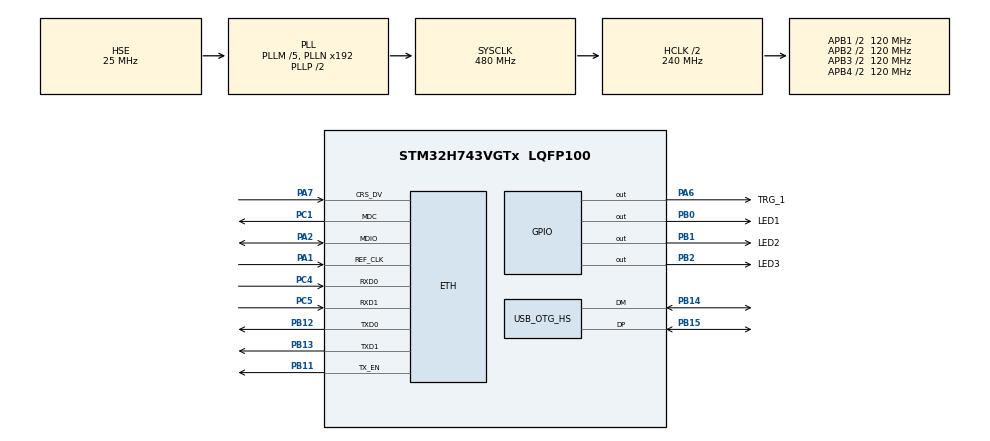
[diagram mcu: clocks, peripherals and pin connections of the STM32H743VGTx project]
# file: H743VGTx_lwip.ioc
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ADC3.Channel-0\#ChannelRegularConversion=ADC_CHANNEL_TEMPSENSOR
ADC3.NbrOfConversionFlag=1
ADC3.OffsetNumber-0\#ChannelRegularConversion=ADC_OFFSET_NONE
ADC3.OffsetSignedSaturation-0\#ChannelRegularConversion=DISABLE
ADC3.Rank-0\#ChannelRegularConversion=1
ADC3.SamplingTime-0\#ChannelRegularConversion=ADC_SAMPLETIME_810CYCLES_5
CORTEX_M7.AccessPermission_S-Cortex_Memory_Protection_Unit_Region1_Settings_S=MPU_REGION_FULL_ACCESS
CORTEX_M7.AccessPermission_S-Cortex_Memory_Protection_Unit_Region2_Settings_S=MPU_REGION_FULL_ACCESS
CORTEX_M7.BaseAddress_S-Cortex_Memory_Protection_Unit_Region1_Settings_S=0x30020000
CORTEX_M7.BaseAddress_S-Cortex_Memory_Protection_Unit_Region2_Settings_S=0x30040000
CORTEX_M7.CPU_DCache=Enabled
CORTEX_M7.CPU_ICache=Enabled
CORTEX_M7.DisableExec_S-Cortex_Memory_Protection_Unit_Region1_Settings_S=MPU_INSTRUCTION_ACCESS_DISABLE
CORTEX_M7.DisableExec_S-Cortex_Memory_Protection_Unit_Region2_Settings_S=MPU_INSTRUCTION_ACCESS_DISABLE
CORTEX_M7.Enable_S-Cortex_Memory_Protection_Unit_Region1_Settings_S=MPU_REGION_ENABLE
CORTEX_M7.Enable_S-Cortex_Memory_Protection_Unit_Region2_Settings_S=MPU_REGION_ENABLE
CORTEX_M7.IsBufferable_S-Cortex_Memory_Protection_Unit_Region2_Settings_S=MPU_ACCESS_BUFFERABLE
CORTEX_M7.IsShareable_S-Cortex_Memory_Protection_Unit_Region2_Settings_S=MPU_ACCESS_SHAREABLE
CORTEX_M7.Size_S-Cortex_Memory_Protection_Unit_Region1_Settings_S=MPU_REGION_SIZE_128KB
CORTEX_M7.Size_S-Cortex_Memory_Protection_Unit_Region2_Settings_S=MPU_REGION_SIZE_512B
CORTEX_M7.TypeExtField_S-Cortex_Memory_Protection_Unit_Region1_Settings_S=MPU_TEX_LEVEL1
CORTEX_M7.default_mode_Activation=1
CRC.CRCLength=CRC_POLYLENGTH_16B
CRC.DefaultPolynomialUse=DEFAULT_POLYNOMIAL_DISABLE
CRC.GeneratingPolynomial=X15+X2+X0
CRC.InputDataInversionMode=CRC_INPUTDATA_INVERSION_BYTE
CRC.OutputDataInversionMode=CRC_OUTPUTDATA_INVERSION_ENABLE
ETH.MediaInterface=HAL_ETH_RMII_MODE
ETH.RxBuffLen=1536
ETH.RxDescAddress=0x30040000
ETH.TxDescAddress=0x30040200
FREERTOS.Tasks01=defaultTask,24,512,StartDefaultTask,Default,NULL,Dynamic,NULL,NULL;adcTask,8,512,StartAdcTask,Default,NULL,Dynamic,NULL,NULL
FREERTOS.configENABLE_FPU=0
FREERTOS.configMINIMAL_STACK_SIZE=512
FREERTOS.configTOTAL_HEAP_SIZE=32768
FREERTOS.configUSE_NEWLIB_REENTRANT=1
LWIP.BSP.number=1
LWIP.DEFAULT_THREAD_STACKSIZE=2048
LWIP.GATEWAY_ADDRESS=192.168.001.001
LWIP.IP_ADDRESS=192.168.001.010
LWIP.LWIP_DHCP=0
LWIP.LWIP_IGMP=1
LWIP.LWIP_MULTICAST_TX_OPTIONS=1
LWIP.LWIP_RAM_HEAP_POINTER=0x30020000
LWIP.LWIP_RAW=1
LWIP.MEM_SIZE=131048
LWIP.NETMASK_ADDRESS=255.255.255.000
LWIP.TCPIP_THREAD_STACKSIZE=2048
LWIP.Version=v2.1.2_Cube
LWIP0.BSP.STBoard=false
LWIP0.BSP.api=BSP_COMPONENT_DRIVER
LWIP0.BSP.component=LAN8742
LWIP0.BSP.instance=LAN8742
LWIP0.BSP.name=Driver_PHY
LWIP0.BSP.semaphore=S_LAN8742
LWIP0.BSP.solution=LAN8742
Mcu.Family=STM32H7
Mcu.Name=STM32H743VGTx
Mcu.Package=LQFP100
NVIC.ETH_IRQn=true\:5\:0\:false\:false\:true\:true\:true\:true\:true
NVIC.OTG_HS_IRQn=true\:5\:0\:false\:false\:true\:true\:false\:true\:true
NVIC.PriorityGroup=NVIC_PRIORITYGROUP_4
NVIC.TIM5_IRQn=true\:5\:0\:false\:false\:true\:true\:true\:true\:true
NVIC.TIM6_DAC_IRQn=true\:15\:0\:false\:false\:true\:false\:false\:true\:true
NVIC.TimeBase=TIM6_DAC_IRQn
NVIC.TimeBaseIP=TIM6
PA1.GPIO_Speed=GPIO_SPEED_FREQ_VERY_HIGH
PA1.Mode=RMII
PA1.Signal=ETH_REF_CLK
PA13\ (JTMS/SWDIO).Mode=Serial_Wire
PA13\ (JTMS/SWDIO).Signal=DEBUG_JTMS-SWDIO
PA14\ (JTCK/SWCLK).Mode=Serial_Wire
PA14\ (JTCK/SWCLK).Signal=DEBUG_JTCK-SWCLK
PA2.GPIO_Speed=GPIO_SPEED_FREQ_VERY_HIGH
PA2.Mode=RMII
PA2.Signal=ETH_MDIO
PA6.GPIO_Label=TRG_1
PA6.GPIO_PuPd=GPIO_PULLDOWN
PA6.GPIO_Speed=GPIO_SPEED_FREQ_HIGH
PA6.Signal=GPIO_Output
PA7.GPIO_Speed=GPIO_SPEED_FREQ_VERY_HIGH
PA7.Mode=RMII
PA7.Signal=ETH_CRS_DV
PB0.GPIO_Label=LED1
PB0.Signal=GPIO_Output
PB1.GPIO_Label=LED2
PB1.Signal=GPIO_Output
PB11.GPIO_Speed=GPIO_SPEED_FREQ_VERY_HIGH
PB11.Mode=RMII
PB11.Signal=ETH_TX_EN
PB12.GPIO_Speed=GPIO_SPEED_FREQ_VERY_HIGH
PB12.Mode=RMII
PB12.Signal=ETH_TXD0
PB13.GPIO_Speed=GPIO_SPEED_FREQ_VERY_HIGH
PB13.Mode=RMII
PB13.Signal=ETH_TXD1
PB14.Mode=Device_Only_FS
PB14.Signal=USB_OTG_HS_DM
PB15.Mode=Device_Only_FS
PB15.Signal=USB_OTG_HS_DP
PB2.GPIO_Label=LED3
PB2.Signal=GPIO_Output
PC1.GPIO_Speed=GPIO_SPEED_FREQ_VERY_HIGH
PC1.Mode=RMII
PC1.Signal=ETH_MDC
PC4.GPIO_Speed=GPIO_SPEED_FREQ_VERY_HIGH
PC4.Mode=RMII
PC4.Signal=ETH_RXD0
PC5.GPIO_Speed=GPIO_SPEED_FREQ_VERY_HIGH
PC5.Mode=RMII
PC5.Signal=ETH_RXD1
PH0-OSC_IN\ (PH0).Mode=HSE-External-Oscillator
PH0-OSC_IN\ (PH0).Signal=RCC_OSC_IN
PH1-OSC_OUT\ (PH1).Mode=HSE-External-Oscillator
PH1-OSC_OUT\ (PH1).Signal=RCC_OSC_OUT
ProjectManager.HeapSize=0x2000
ProjectManager.StackSize=0x4000
ProjectManager.TargetToolchain=CMake
RCC.ADCFreq_Value=75000000
RCC.APB1Freq_Value=120000000
RCC.APB2Freq_Value=120000000
RCC.APB3Freq_Value=120000000
RCC.APB4Freq_Value=120000000
RCC.CortexFreq_Value=480000000
RCC.D1PPRE=RCC_APB3_DIV2
RCC.D2PPRE1=RCC_APB1_DIV2
RCC.D2PPRE2=RCC_APB2_DIV2
RCC.D3PPRE=RCC_APB4_DIV2
RCC.DIVM1=5
RCC.DIVM2=5
RCC.DIVN1=192
RCC.DIVN2=30
RCC.DIVQ1=20
RCC.HCLKFreq_Value=240000000
RCC.HPRE=RCC_HCLK_DIV2
RCC.PLLSourceVirtual=RCC_PLLSOURCE_HSE
RCC.SYSCLKFreq_VALUE=480000000
RCC.SYSCLKSource=RCC_SYSCLKSOURCE_PLLCLK
RCC.USBFreq_Value=48000000
TIM5.AutoReloadPreload=TIM_AUTORELOAD_PRELOAD_ENABLE
TIM5.Channel-Output\ Compare1\ No\ Output=TIM_CHANNEL_1
TIM5.OC1Preload=ENABLE
TIM5.Period=5000-1
TIM5.Prescaler=240-1
TIM5.Pulse-Output\ Compare1\ No\ Output=2500
USB_DEVICE.CLASS_NAME_HS=CDC
USB_DEVICE.VirtualMode-CDC_HS=Cdc
USB_DEVICE.VirtualModeHS=Cdc_HS
USB_OTG_HS.VirtualMode-Device_Only_FS=Device_Only_FS
VP_ADC3_TempSens_Input.Mode=IN-TempSens
VP_CRC_VS_CRC.Mode=CRC_Activate
VP_FREERTOS_VS_CMSIS_V2.Mode=CMSIS_V2
VP_LWIP_VS_Enabled.Mode=Enabled
VP_MEMORYMAP_VS_MEMORYMAP.Mode=CurAppReg
VP_SYS_VS_tim6.Mode=TIM6
VP_TIM5_VS_ClockSourceINT.Mode=Internal
VP_TIM5_VS_no_output1.Mode=Output Compare1 No Output
VP_USB_DEVICE_VS_USB_DEVICE_CDC_HS.Mode=CDC_HS
board=custom

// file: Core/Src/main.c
/* USER CODE BEGIN Header */
/**
  ******************************************************************************
  * @file           : main.c
  * @brief          : Main program body
  ******************************************************************************
  * @attention
  *
  * Copyright (c) 2025 STMicroelectronics.
  * All rights reserved.
  *
  * This software is licensed under terms that can be found in the LICENSE file
  * in the root directory of this software component.
  * If no LICENSE file comes with this software, it is provided AS-IS.
  *
  ******************************************************************************
  */
/* USER CODE END Header */
#include "main.h"
#include "cmsis_os.h"
#include "lwip.h"
#include "usb_device.h"

/* USER CODE BEGIN Includes */
#include "usbd_cdc_if.h"
#include "ptpd.h"
#include "udp_conn.h"
#include "config.h"
/* USER CODE END Includes */

ADC_HandleTypeDef hadc3;

CRC_HandleTypeDef hcrc;

TIM_HandleTypeDef htim5;

/* Definitions for defaultTask */
osThreadId_t defaultTaskHandle;
const osThreadAttr_t defaultTask_attributes = {
  .name = "defaultTask",
  .stack_size = 512 * 4,
  .priority = (osPriority_t) osPriorityNormal,
};
/* Definitions for adcTask */
osThreadId_t adcTaskHandle;
const osThreadAttr_t adcTask_attributes = {
  .name = "adcTask",
  .stack_size = 512 * 4,
  .priority = (osPriority_t) osPriorityLow,
};

void SystemClock_Config(void);
static void MPU_Config(void);
static void MX_GPIO_Init(void);
static void MX_ADC3_Init(void);
static void MX_CRC_Init(void);
static void MX_TIM5_Init(void);
void StartDefaultTask(void *argument);
void StartAdcTask(void *argument);

int main(void)
{

  /* MPU Configuration--------------------------------------------------------*/
  MPU_Config();

  /* Enable the CPU Cache */

  /* Enable I-Cache---------------------------------------------------------*/
  SCB_EnableICache();

  /* Enable D-Cache---------------------------------------------------------*/
  SCB_EnableDCache();

  /* MCU Configuration--------------------------------------------------------*/

  /* Reset of all peripherals, Initializes the Flash interface and the Systick. */
  HAL_Init();

  /* Configure the system clock */
  SystemClock_Config();

  /* Initialize all configured peripherals */
  MX_GPIO_Init();
  MX_ADC3_Init();
  MX_CRC_Init();
  MX_TIM5_Init();
  /* USER CODE BEGIN 2 */
  HAL_Delay(500);
  HAL_ADCEx_Calibration_Start(&hadc3,ADC_CALIB_OFFSET,ADC_SINGLE_ENDED);
  HAL_Delay(500);
  HAL_TIM_Base_Start_IT(&htim5);
  HAL_TIM_OC_Start_IT(&htim5, TIM_CHANNEL_1);
  /* USER CODE END 2 */

  /* Init scheduler */
  osKernelInitialize();

  /* Create the thread(s) */
  /* creation of defaultTask */
  defaultTaskHandle = osThreadNew(StartDefaultTask, NULL, &defaultTask_attributes);

  /* creation of adcTask */
  adcTaskHandle = osThreadNew(StartAdcTask, NULL, &adcTask_attributes);

  /* Start scheduler */
  osKernelStart();

  /* We should never get here as control is now taken by the scheduler */

  /* Infinite loop */
  while (1)
  {

  }
}

void SystemClock_Config(void)
{
  RCC_OscInitTypeDef RCC_OscInitStruct = {0};
  RCC_ClkInitTypeDef RCC_ClkInitStruct = {0};

  /** Supply configuration update enable
  */
  HAL_PWREx_ConfigSupply(PWR_LDO_SUPPLY);

  /** Configure the main internal regulator output voltage
  */
  __HAL_PWR_VOLTAGESCALING_CONFIG(PWR_REGULATOR_VOLTAGE_SCALE0);

  while(!__HAL_PWR_GET_FLAG(PWR_FLAG_VOSRDY)) {}

  /** Initializes the RCC Oscillators according to the specified parameters
  * in the RCC_OscInitTypeDef structure.
  */
  RCC_OscInitStruct.OscillatorType = RCC_OSCILLATORTYPE_HSE;
  RCC_OscInitStruct.HSEState = RCC_HSE_ON;
  RCC_OscInitStruct.PLL.PLLState = RCC_PLL_ON;
  RCC_OscInitStruct.PLL.PLLSource = RCC_PLLSOURCE_HSE;
  RCC_OscInitStruct.PLL.PLLM = 5;
  RCC_OscInitStruct.PLL.PLLN = 192;
  RCC_OscInitStruct.PLL.PLLP = 2;
  RCC_OscInitStruct.PLL.PLLQ = 20;
  RCC_OscInitStruct.PLL.PLLR = 2;
  RCC_OscInitStruct.PLL.PLLRGE = RCC_PLL1VCIRANGE_2;
  RCC_OscInitStruct.PLL.PLLVCOSEL = RCC_PLL1VCOWIDE;
  RCC_OscInitStruct.PLL.PLLFRACN = 0;
  if (HAL_RCC_OscConfig(&RCC_OscInitStruct) != HAL_OK)
  {
    Error_Handler();
  }

  /** Initializes the CPU, AHB and APB buses clocks
  */
  RCC_ClkInitStruct.ClockType = RCC_CLOCKTYPE_HCLK|RCC_CLOCKTYPE_SYSCLK
                              |RCC_CLOCKTYPE_PCLK1|RCC_CLOCKTYPE_PCLK2
                              |RCC_CLOCKTYPE_D3PCLK1|RCC_CLOCKTYPE_D1PCLK1;
  RCC_ClkInitStruct.SYSCLKSource = RCC_SYSCLKSOURCE_PLLCLK;
  RCC_ClkInitStruct.SYSCLKDivider = RCC_SYSCLK_DIV1;
  RCC_ClkInitStruct.AHBCLKDivider = RCC_HCLK_DIV2;
  RCC_ClkInitStruct.APB3CLKDivider = RCC_APB3_DIV2;
  RCC_ClkInitStruct.APB1CLKDivider = RCC_APB1_DIV2;
  RCC_ClkInitStruct.APB2CLKDivider = RCC_APB2_DIV2;
  RCC_ClkInitStruct.APB4CLKDivider = RCC_APB4_DIV2;

  if (HAL_RCC_ClockConfig(&RCC_ClkInitStruct, FLASH_LATENCY_4) != HAL_OK)
  {
    Error_Handler();
  }
}

static void MX_ADC3_Init(void)
{

  ADC_ChannelConfTypeDef sConfig = {0};

  /** Common config
  */
  hadc3.Instance = ADC3;
  hadc3.Init.Resolution = ADC_RESOLUTION_16B;
  hadc3.Init.ScanConvMode = ADC_SCAN_DISABLE;
  hadc3.Init.EOCSelection = ADC_EOC_SINGLE_CONV;
  hadc3.Init.LowPowerAutoWait = DISABLE;
  hadc3.Init.ContinuousConvMode = DISABLE;
  hadc3.Init.NbrOfConversion = 1;
  hadc3.Init.DiscontinuousConvMode = DISABLE;
  hadc3.Init.ExternalTrigConv = ADC_SOFTWARE_START;
  hadc3.Init.ExternalTrigConvEdge = ADC_EXTERNALTRIGCONVEDGE_NONE;
  hadc3.Init.ConversionDataManagement = ADC_CONVERSIONDATA_DR;
  hadc3.Init.Overrun = ADC_OVR_DATA_PRESERVED;
  hadc3.Init.LeftBitShift = ADC_LEFTBITSHIFT_NONE;
  hadc3.Init.OversamplingMode = DISABLE;
  hadc3.Init.Oversampling.Ratio = 1;
  if (HAL_ADC_Init(&hadc3) != HAL_OK)
  {
    Error_Handler();
  }

  /** Configure Regular Channel
  */
  sConfig.Channel = ADC_CHANNEL_TEMPSENSOR;
  sConfig.Rank = ADC_REGULAR_RANK_1;
  sConfig.SamplingTime = ADC_SAMPLETIME_810CYCLES_5;
  sConfig.SingleDiff = ADC_SINGLE_ENDED;
  sConfig.OffsetNumber = ADC_OFFSET_NONE;
  sConfig.Offset = 0;
  sConfig.OffsetSignedSaturation = DISABLE;
  if (HAL_ADC_ConfigChannel(&hadc3, &sConfig) != HAL_OK)
  {
    Error_Handler();
  }

}

static void MX_CRC_Init(void)
{

  hcrc.Instance = CRC;
  hcrc.Init.DefaultPolynomialUse = DEFAULT_POLYNOMIAL_DISABLE;
  hcrc.Init.DefaultInitValueUse = DEFAULT_INIT_VALUE_ENABLE;
  hcrc.Init.GeneratingPolynomial = 32773;
  hcrc.Init.CRCLength = CRC_POLYLENGTH_16B;
  hcrc.Init.InputDataInversionMode = CRC_INPUTDATA_INVERSION_BYTE;
  hcrc.Init.OutputDataInversionMode = CRC_OUTPUTDATA_INVERSION_ENABLE;
  hcrc.InputDataFormat = CRC_INPUTDATA_FORMAT_BYTES;
  if (HAL_CRC_Init(&hcrc) != HAL_OK)
  {
    Error_Handler();
  }

}

static void MX_TIM5_Init(void)
{

  TIM_ClockConfigTypeDef sClockSourceConfig = {0};
  TIM_MasterConfigTypeDef sMasterConfig = {0};
  TIM_OC_InitTypeDef sConfigOC = {0};

  htim5.Instance = TIM5;
  htim5.Init.Prescaler = 240-1;
  htim5.Init.CounterMode = TIM_COUNTERMODE_UP;
  htim5.Init.Period = 5000-1;
  htim5.Init.ClockDivision = TIM_CLOCKDIVISION_DIV1;
  htim5.Init.AutoReloadPreload = TIM_AUTORELOAD_PRELOAD_ENABLE;
  if (HAL_TIM_Base_Init(&htim5) != HAL_OK)
  {
    Error_Handler();
  }
  sClockSourceConfig.ClockSource = TIM_CLOCKSOURCE_INTERNAL;
  if (HAL_TIM_ConfigClockSource(&htim5, &sClockSourceConfig) != HAL_OK)
  {
    Error_Handler();
  }
  if (HAL_TIM_OC_Init(&htim5) != HAL_OK)
  {
    Error_Handler();
  }
  sMasterConfig.MasterOutputTrigger = TIM_TRGO_RESET;
  sMasterConfig.MasterSlaveMode = TIM_MASTERSLAVEMODE_DISABLE;
  if (HAL_TIMEx_MasterConfigSynchronization(&htim5, &sMasterConfig) != HAL_OK)
  {
    Error_Handler();
  }
  sConfigOC.OCMode = TIM_OCMODE_TIMING;
  sConfigOC.Pulse = 2500;
  sConfigOC.OCPolarity = TIM_OCPOLARITY_HIGH;
  sConfigOC.OCFastMode = TIM_OCFAST_DISABLE;
  if (HAL_TIM_OC_ConfigChannel(&htim5, &sConfigOC, TIM_CHANNEL_1) != HAL_OK)
  {
    Error_Handler();
  }
  __HAL_TIM_ENABLE_OCxPRELOAD(&htim5, TIM_CHANNEL_1);
  /* USER CODE BEGIN TIM5_Init 2 */
  // TIM5->CR1 &= ~TIM_CR1_UDIS;
  /* USER CODE END TIM5_Init 2 */

}

static void MX_GPIO_Init(void)
{
  GPIO_InitTypeDef GPIO_InitStruct = {0};

  /* GPIO Ports Clock Enable */
  __HAL_RCC_GPIOH_CLK_ENABLE();
  __HAL_RCC_GPIOC_CLK_ENABLE();
  __HAL_RCC_GPIOA_CLK_ENABLE();
  __HAL_RCC_GPIOB_CLK_ENABLE();

  /*Configure GPIO pin Output Level */
  HAL_GPIO_WritePin(TRG_1_GPIO_Port, TRG_1_Pin, GPIO_PIN_RESET);

  /*Configure GPIO pin Output Level */
  HAL_GPIO_WritePin(GPIOB, LED1_Pin|LED2_Pin|LED3_Pin, GPIO_PIN_RESET);

  /*Configure GPIO pin : TRG_1_Pin */
  GPIO_InitStruct.Pin = TRG_1_Pin;
  GPIO_InitStruct.Mode = GPIO_MODE_OUTPUT_PP;
  GPIO_InitStruct.Pull = GPIO_PULLDOWN;
  GPIO_InitStruct.Speed = GPIO_SPEED_FREQ_HIGH;
  HAL_GPIO_Init(TRG_1_GPIO_Port, &GPIO_InitStruct);

  /*Configure GPIO pins : LED1_Pin LED2_Pin LED3_Pin */
  GPIO_InitStruct.Pin = LED1_Pin|LED2_Pin|LED3_Pin;
  GPIO_InitStruct.Mode = GPIO_MODE_OUTPUT_PP;
  GPIO_InitStruct.Pull = GPIO_NOPULL;
  GPIO_InitStruct.Speed = GPIO_SPEED_FREQ_LOW;
  HAL_GPIO_Init(GPIOB, &GPIO_InitStruct);

}

/* USER CODE BEGIN 4 */
static uint8_t recv_buf[1024] = {0};
struct udp_pcb* udp_conn_pcb = NULL;
int cmd_recv_flag = 0;
void pc_cmd_recv_udp(void *arg, void* data, u32_t recv_len) {
  if(data != NULL){
    cmd_recv_flag = 1;
  }
}
void handle_cmd_recv(ip_addr_t remote_ip, uint16_t remote_port) {
  if(cmd_recv_flag == 1){
    cmd_recv_flag = 0;
    char* cmd_str = (char*)recv_buf;
    if (strncmp(cmd_str, "set ip", 6) == 0) {
      char* ip_str = cmd_str + 7;
      char* token = strtok(ip_str, ".");
      uint8_t ip[4] = {0};
      int i = 0;
      while (token != NULL && i < 4) {
        ip[i++] = atoi(token);
        token = strtok(NULL, ".");
      }
      if (i == 4) {
        global_config.flash_config.local_ip = create_ip_addr(ip[0], ip[1], ip[2], ip[3]).addr;
        save_flash_config(&global_config.flash_config);
        // netif_set_addr(netif_default, (ip_addr_t*)&global_config.flash_config.local_ip,
        // (ip_addr_t*)&global_config.flash_config.local_netmask,
        // (ip_addr_t*)&global_config.flash_config.local_gateway);
        // netif_set_up(netif_default);
      } else {
        do_udp_send(udp_conn_pcb, remote_ip, remote_port, (void*)"invalid ip\n", sizeof("invalid ip\n"));
      }
    } else {
      do_udp_send(udp_conn_pcb, remote_ip, remote_port, (void*)"invalid cmd\n", sizeof("invalid cmd\n"));
    }

  }
}

int trigger_cnt = 0;
TimeInternal trigger_time;
ip_addr_t trigger_remote_ip;
uint16_t trigger_remote_port;
void trigger_packet(const char* sensor, uint32_t seconds, uint32_t nanoseconds) {
  if (udp_conn_pcb == NULL) {
    return;
  }
  static trigger_str[64] = {0};
  snprintf(trigger_str, sizeof(trigger_str), "trigger %s %u %u\n", sensor, seconds, nanoseconds);
  do_udp_send(udp_conn_pcb, trigger_remote_ip, trigger_remote_port, (void*)trigger_str, strlen(trigger_str));
}

void handle_trigger_task(void) {
  getTime(&trigger_time);
  int trigger_us = trigger_time.nanoseconds / 1000;
  int period = TIM5->ARR + 1;
  int cycles = trigger_us / period;
  int phase = trigger_us % period;

  // adjust triggrer phase to align with PTP
  int last_ccr = TIM5->CCR1;
  int target_ccr = last_ccr + (period - phase);
  if (target_ccr >= period){
    target_ccr -= period;
  }
  TIM5->CCR1 = target_ccr;
  if (target_ccr - last_ccr > period / 2){
    TIM5->EGR |= TIM_EGR_UG; // update the timer
  }

  int trigger_cycle = cycles + (phase > period / 2);
  if (trigger_cycle % 8 == 0){
    HAL_GPIO_WritePin(TRG_1_GPIO_Port, TRG_1_Pin, GPIO_PIN_SET);
    // usb_printf("trigger up: %u %u %u %u\n", trigger_time.seconds, trigger_time.nanoseconds, trigger_cnt, phase);
    trigger_packet("cameras", trigger_time.seconds, trigger_time.nanoseconds);
  } else if (trigger_cycle % 8 == 4){
    HAL_GPIO_WritePin(TRG_1_GPIO_Port, TRG_1_Pin, GPIO_PIN_RESET);
    // usb_printf("trigger down: %u %u %u %u\n", trigger_time.seconds, trigger_time.nanoseconds, trigger_cnt, phase);
  }
  ++trigger_cnt;
}

void HAL_TIM_OC_DelayElapsedCallback(TIM_HandleTypeDef *htim) {
  if (htim->Instance == TIM5) {
    handle_trigger_task();
  }
}
/* USER CODE END 4 */

/* USER CODE BEGIN Header_StartDefaultTask */
extern PtpClock ptpClock;
/**
  * @brief  Function implementing the defaultTask thread.
  * @param  argument: Not used
  * @retval None
  */
/* USER CODE END Header_StartDefaultTask */
void StartDefaultTask(void *argument)
{
  /* init code for LWIP */
  MX_LWIP_Init();

  /* init code for USB_DEVICE */
  MX_USB_DEVICE_Init();
  /* USER CODE BEGIN 5 */
  read_flash_config(&global_config.flash_config);
  // global_config.flash_config.local_ip = create_ip_addr(192, 168, 1, 10).addr;
  netif_set_down(netif_default);
  netif_set_addr(netif_default, (ip_addr_t*)&global_config.flash_config.local_ip,
  (ip_addr_t*)&global_config.flash_config.local_netmask,
  (ip_addr_t*)&global_config.flash_config.local_gateway);
  netif_set_up(netif_default);

  ptpd_init();
  osDelay(1000);
  /* Infinite loop */
  udp_conn_init();
  ip_addr_t remote_ip = create_ip_addr(192, 168, 1, 255);
  trigger_remote_ip = create_ip_addr(192, 168, 1, 255);
  trigger_remote_port = 5004;
  udp_conn_pcb = create_udp_recv(NULL, netif_default->ip_addr, 5001, recv_buf, 1024, pc_cmd_recv_udp, NULL);

  int led_cnt = 0;
  for(;;)
  {
    led_cnt++;
    if(led_cnt > 500){
      HAL_GPIO_TogglePin(LED1_GPIO_Port, LED1_Pin);
      led_cnt = 0;
      if (ptpClock.portDS.portState == PTP_SLAVE){
        HAL_GPIO_TogglePin(LED2_GPIO_Port, LED2_Pin);
      } else {
        HAL_GPIO_WritePin(LED2_GPIO_Port, LED2_Pin, GPIO_PIN_RESET);
      }
    }
    ptpd_task();
    updatePTPTimers();
    handle_cmd_recv(remote_ip, 5002);
    osDelay(1);
  }

  /* USER CODE END 5 */
}

void StartAdcTask(void *argument)
{
  /* USER CODE BEGIN StartAdcTask */
  /* Infinite loop */
  uint16_t TS_CAL1, TS_CAL2;
  uint32_t adc_value;
  float cpu_temp = 0;
  TS_CAL1 = *(__IO uint16_t *)(0x1FF1E820);
	TS_CAL2 = *(__IO uint16_t *)(0x1FF1E840);
  for(;;)
  {
    HAL_ADC_Start(&hadc3);	//启动ADC转换
	  HAL_ADC_PollForConversion(&hadc3, 10);	//等待转换完成,10ms表示超时时间
	  adc_value = HAL_ADC_GetValue(&hadc3);	//读取ADC转换数据,16位数据）
    cpu_temp = ((110.0f - 30.0f) / (TS_CAL2 - TS_CAL1)) * (adc_value - TS_CAL1) + 30.0f;
    // usb_printf("cpu_temp: %lf\n", cpu_temp);
    osDelay(500);
  }
  /* USER CODE END StartAdcTask */
}

 /* MPU Configuration */

void MPU_Config(void)
{
  MPU_Region_InitTypeDef MPU_InitStruct = {0};

  /* Disables the MPU */
  HAL_MPU_Disable();

  /** Initializes and configures the Region and the memory to be protected
  */
  MPU_InitStruct.Enable = MPU_REGION_ENABLE;
  MPU_InitStruct.Number = MPU_REGION_NUMBER0;
  MPU_InitStruct.BaseAddress = 0x0;
  MPU_InitStruct.Size = MPU_REGION_SIZE_4GB;
  MPU_InitStruct.SubRegionDisable = 0x87;
  MPU_InitStruct.TypeExtField = MPU_TEX_LEVEL0;
  MPU_InitStruct.AccessPermission = MPU_REGION_NO_ACCESS;
  MPU_InitStruct.DisableExec = MPU_INSTRUCTION_ACCESS_DISABLE;
  MPU_InitStruct.IsShareable = MPU_ACCESS_SHAREABLE;
  MPU_InitStruct.IsCacheable = MPU_ACCESS_NOT_CACHEABLE;
  MPU_InitStruct.IsBufferable = MPU_ACCESS_NOT_BUFFERABLE;

  HAL_MPU_ConfigRegion(&MPU_InitStruct);

  /** Initializes and configures the Region and the memory to be protected
  */
  MPU_InitStruct.Number = MPU_REGION_NUMBER1;
  MPU_InitStruct.BaseAddress = 0x30020000;
  MPU_InitStruct.Size = MPU_REGION_SIZE_128KB;
  MPU_InitStruct.SubRegionDisable = 0x0;
  MPU_InitStruct.TypeExtField = MPU_TEX_LEVEL1;
  MPU_InitStruct.AccessPermission = MPU_REGION_FULL_ACCESS;
  MPU_InitStruct.IsShareable = MPU_ACCESS_NOT_SHAREABLE;

  HAL_MPU_ConfigRegion(&MPU_InitStruct);

  /** Initializes and configures the Region and the memory to be protected
  */
  MPU_InitStruct.Number = MPU_REGION_NUMBER2;
  MPU_InitStruct.BaseAddress = 0x30040000;
  MPU_InitStruct.Size = MPU_REGION_SIZE_512B;
  MPU_InitStruct.TypeExtField = MPU_TEX_LEVEL0;
  MPU_InitStruct.IsShareable = MPU_ACCESS_SHAREABLE;
  MPU_InitStruct.IsBufferable = MPU_ACCESS_BUFFERABLE;

  HAL_MPU_ConfigRegion(&MPU_InitStruct);
  /* Enables the MPU */
  HAL_MPU_Enable(MPU_PRIVILEGED_DEFAULT);

}

void HAL_TIM_PeriodElapsedCallback(TIM_HandleTypeDef *htim)
{
  if (htim->Instance == TIM6)
  {
    HAL_IncTick();
  }
}

void Error_Handler(void)
{
  __disable_irq();
  while (1)
  {
  }
}
